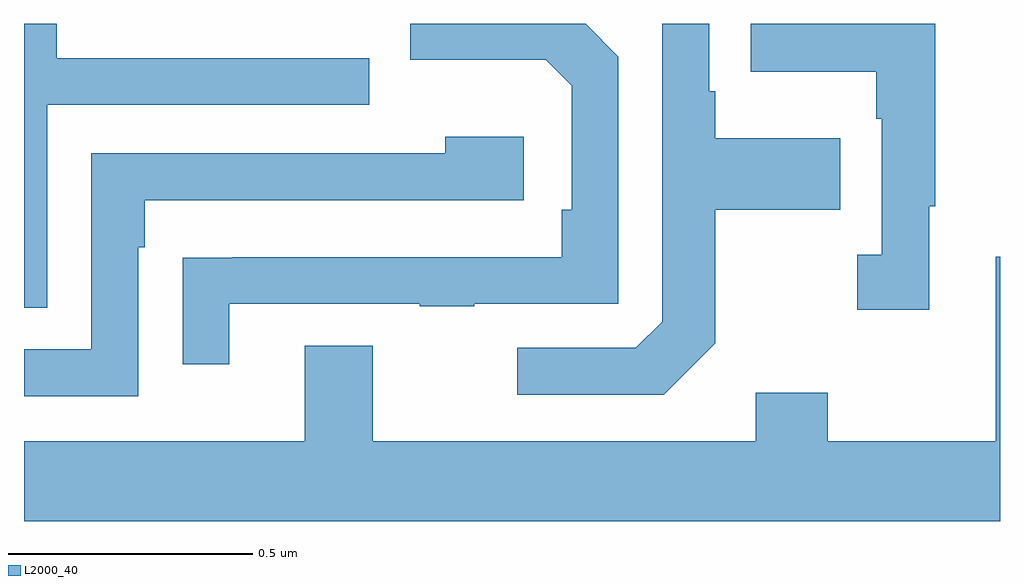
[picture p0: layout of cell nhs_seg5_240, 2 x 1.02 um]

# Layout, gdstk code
import gdstk
lib = gdstk.Library(unit=1e-6, precision=1e-09)
def P(c, l, *ps):  # polygons
    for p in ps: c.add(gdstk.Polygon(p, *l))
L2000_40 = (2000, 40)

nhs_seg5_240 = lib.new_cell('nhs_seg5_240')
P(nhs_seg5_240, L2000_40, [(114.421,837.225),(114.811,837.225),(114.811,837.22),(114.923,837.22),(114.923,837.225),(115.218,837.225),(115.218,837.732),(115.151,837.799),(114.792,837.799),(114.792,837.725),(115.069,837.725),(115.122,837.672),(115.122,837.418),(115.102,837.418),(115.102,837.321),(114.427,837.321),(114.427,837.32),(114.325,837.32),(114.325,837.102),(114.421,837.102)],
  [(115.417,837.145),(115.417,837.418),(115.673,837.418),(115.673,837.565),(115.417,837.565),(115.417,837.661),(115.404,837.661),(115.404,837.799),(115.308,837.799),(115.308,837.189),(115.254,837.135),(115.011,837.135),(115.011,837.039),(115.311,837.039)],
  [(114.048,837.633),(114.707,837.633),(114.707,837.729),(114.067,837.729),(114.067,837.799),(114,837.799),(114,837.217),(114.048,837.217)],
  [(115.855,837.425),(115.867,837.425),(115.867,837.799),(115.489,837.799),(115.489,837.701),(115.746,837.701),(115.746,837.605),(115.758,837.605),(115.758,837.326),(115.707,837.326),(115.707,837.213),(115.855,837.213)],
  [(114.234,837.341),(114.247,837.341),(114.247,837.438),(115.024,837.438),(115.024,837.568),(114.863,837.568),(114.863,837.534),(114.138,837.534),(114.138,837.132),(114,837.132),(114,837.036),(114.234,837.036)],
  [(116,837.322),(115.991,837.322),(115.991,836.944),(115.647,836.944),(115.647,837.043),(115.499,837.043),(115.499,836.944),(114.715,836.944),(114.715,837.139),(114.575,837.139),(114.575,836.944),(114,836.944),(114,836.78),(116,836.78)])

lib.write_gds('nhs_seg5_240.gds')
